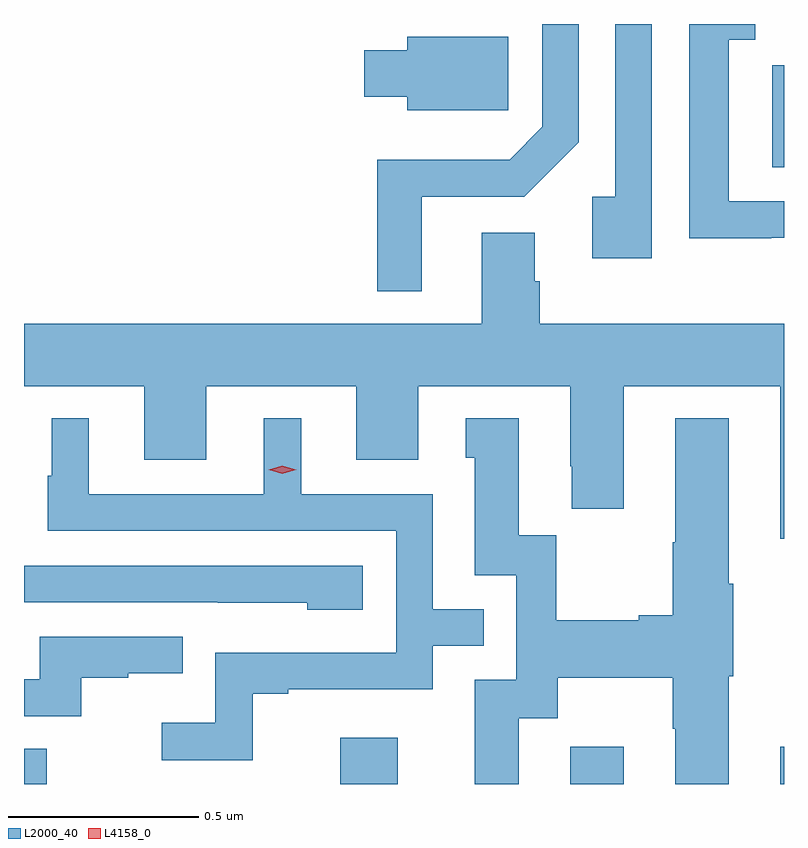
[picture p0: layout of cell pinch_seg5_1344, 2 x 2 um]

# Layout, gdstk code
import gdstk
lib = gdstk.Library(unit=1e-6, precision=1e-09)
def R(c, l, rs):  # rectangles x0, y0, x1, y1
    for r in rs: c.add(gdstk.rectangle(r[:2], r[2:], *l))
def P(c, l, *ps):  # polygons
    for p in ps: c.add(gdstk.Polygon(p, *l))
L2000_40 = (2000, 40)
L4158_0 = (4158, 0)

pinch_seg5_1344 = lib.new_cell('pinch_seg5_1344')
R(pinch_seg5_1344, L2000_40, [(409.981,851.717,410.041,851.81), (410.813,851.717,410.965,851.839), (411.419,851.717,411.559,851.815), (411.971,851.717,411.981,851.815), (411.95,853.34,411.981,853.608)])
P(pinch_seg5_1344, L2000_40, [(411.947,853.155),(411.981,853.155),(411.981,853.251),(411.835,853.251),(411.835,853.676),(411.905,853.676),(411.905,853.717),(411.731,853.717),(411.731,853.153),(411.947,853.153)],
  [(411.633,853.717),(411.537,853.717),(411.537,853.262),(411.477,853.262),(411.477,853.101),(411.633,853.101)],
  [(411.028,853.263),(411.298,853.263),(411.441,853.406),(411.441,853.717),(411.345,853.717),(411.345,853.446),(411.259,853.36),(410.911,853.36),(410.911,853.014),(411.028,853.014)],
  [(411.255,853.684),(410.99,853.684),(410.99,853.648),(410.876,853.648),(410.876,853.526),(410.99,853.526),(410.99,853.49),(411.255,853.49)],
  [(411.981,852.928),(411.338,852.928),(411.338,853.04),(411.325,853.04),(411.325,853.168),(411.185,853.168),(411.185,852.928),(409.981,852.928),(409.981,852.764),(410.297,852.764),(410.297,852.57),(410.461,852.57),(410.461,852.764),(410.855,852.764),(410.855,852.57),(411.019,852.57),(411.019,852.764),(411.419,852.764),(411.419,852.553),(411.422,852.553),(411.422,852.441),(411.559,852.441),(411.559,852.764),(411.971,852.764),(411.971,852.363),(411.981,852.363)],
  [(410.583,851.955),(410.677,851.955),(410.677,851.967),(411.057,851.967),(411.057,852.081),(411.191,852.081),(411.191,852.177),(411.057,852.177),(411.057,852.48),(410.71,852.48),(410.71,852.679),(410.612,852.679),(410.612,852.48),(410.152,852.48),(410.152,852.679),(410.054,852.679),(410.054,852.528),(410.043,852.528),(410.043,852.384),(410.961,852.384),(410.961,852.063),(410.484,852.063),(410.484,851.878),(410.343,851.878),(410.343,851.78),(410.583,851.78)],
  [(411.283,851.89),(411.385,851.89),(411.385,851.996),(411.688,851.996),(411.688,851.862),(411.695,851.862),(411.695,851.717),(411.835,851.717),(411.835,852),(411.848,852),(411.848,852.244),(411.835,852.244),(411.835,852.679),(411.695,852.679),(411.695,852.353),(411.688,852.353),(411.688,852.161),(411.599,852.161),(411.599,852.148),(411.381,852.148),(411.381,852.371),(411.283,852.371),(411.283,852.679),(411.143,852.679),(411.143,852.576),(411.167,852.576),(411.167,852.267),(411.276,852.267),(411.276,851.991),(411.167,851.991),(411.167,851.717),(411.283,851.717)],
  [(410.872,852.291),(409.981,852.291),(409.981,852.195),(410.491,852.195),(410.491,852.194),(410.727,852.194),(410.727,852.176),(410.872,852.176)],
  [(410.132,851.997),(410.255,851.997),(410.255,852.008),(410.399,852.008),(410.399,852.105),(410.022,852.105),(410.022,851.993),(409.981,851.993),(409.981,851.895),(410.132,851.895)])
P(pinch_seg5_1344, L4158_0, [(410.661,852.534),(410.625,852.544),(410.625,852.544),(410.625,852.544),(410.661,852.554),(410.697,852.544),(410.697,852.544),(410.697,852.544)])

lib.write_gds('pinch_seg5_1344.gds')
